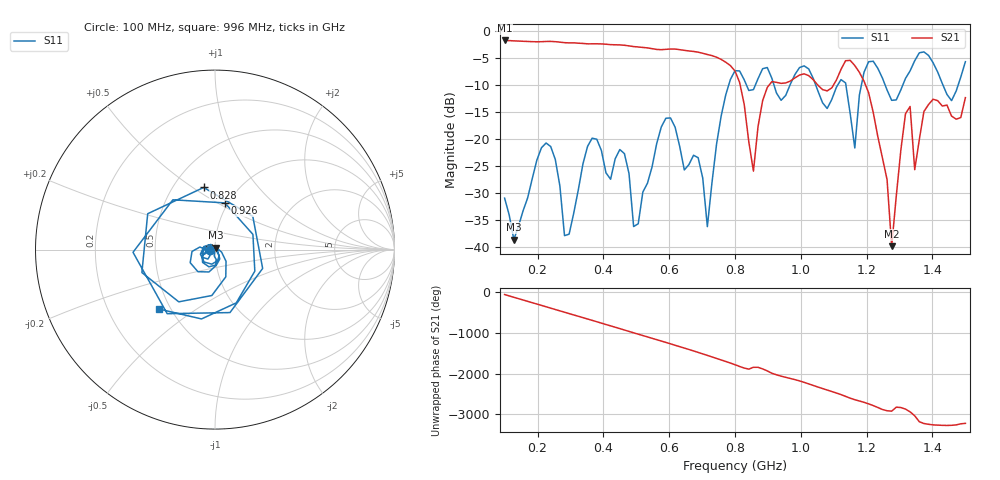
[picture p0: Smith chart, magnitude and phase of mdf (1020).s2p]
! NanoVNA-App
! Date: 2025-09-25 15:46:21
! Start: 100MHz Stop: 1,5GHz Points: 101
! S-Parameter data: F S11 S21 S12 S22
# Hz S RI R 50
!  Frequency  S11_Real  S11_Imag  S21_Real  S21_Imag  S12_Real  S12_Imag  S22_Real  S22_Imag
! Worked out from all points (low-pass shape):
!   101 points, 100 MHz to 1.5 GHz, reference 50 ohm
!   highest |S21| = -1.81 dB at 100 MHz (marker M1); lowest = -39.8 dB at 1.276 GHz (marker M2)
!   |S21| within 3 dB of the highest: start of sweep to 739.4 MHz
!   lowest |S11| = -38.6 dB at 128 MHz (marker M3), VSWR 1.02, Z = 50.4 + j1.11 ohm
!   |S11| at or under -10 dB: start of sweep to 781.1 MHz; 1.045 GHz to 1.113 GHz (67.5 MHz wide, 6.26 % of centre); 1.256 GHz to 1.31 GHz (54.21 MHz wide, 4.23 % of centre) (the widest 3 of 7)
!   S12 and S22 are empty: the file has one direction only
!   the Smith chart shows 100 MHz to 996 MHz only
!   S11 on the Smith chart (normalised r, x): 100 MHz: 0.95, -0.01; 828 MHz: 0.70, +0.55; 926 MHz: 0.97, +0.54; 996 MHz: 0.43, -0.36
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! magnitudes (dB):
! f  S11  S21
! 100 MHz  -30.9  -1.8
! 128 MHz  -38.6  -1.9
! 212 MHz  -21.6  -2.0
! 282 MHz  -37.9  -2.2
! 338 MHz  -24.6  -2.4
! 464 MHz  -22.7  -2.7
! 492 MHz  -36.2  -2.9
! 576 MHz  -17.8  -3.5
! 716 MHz  -36.2  -4.4
! 800 MHz  -7.4  -7.4
! 828 MHz  -9.1  -13.6
! 856 MHz  -10.9  -25.9
! 926 MHz  -11.5  -9.5
! 996 MHz  -6.8  -8.2
! 1.038 GHz  -8.9  -9.1
! 1.136 GHz  -9.6  -5.5
! 1.164 GHz  -21.7  -6.4
! 1.192 GHz  -7.7  -9.3
! 1.276 GHz  -12.9  -39.8
! 1.318 GHz  -8.8  -15.3
! 1.346 GHz  -5.6  -25.7
! 1.5 GHz  -5.7  -12.4
